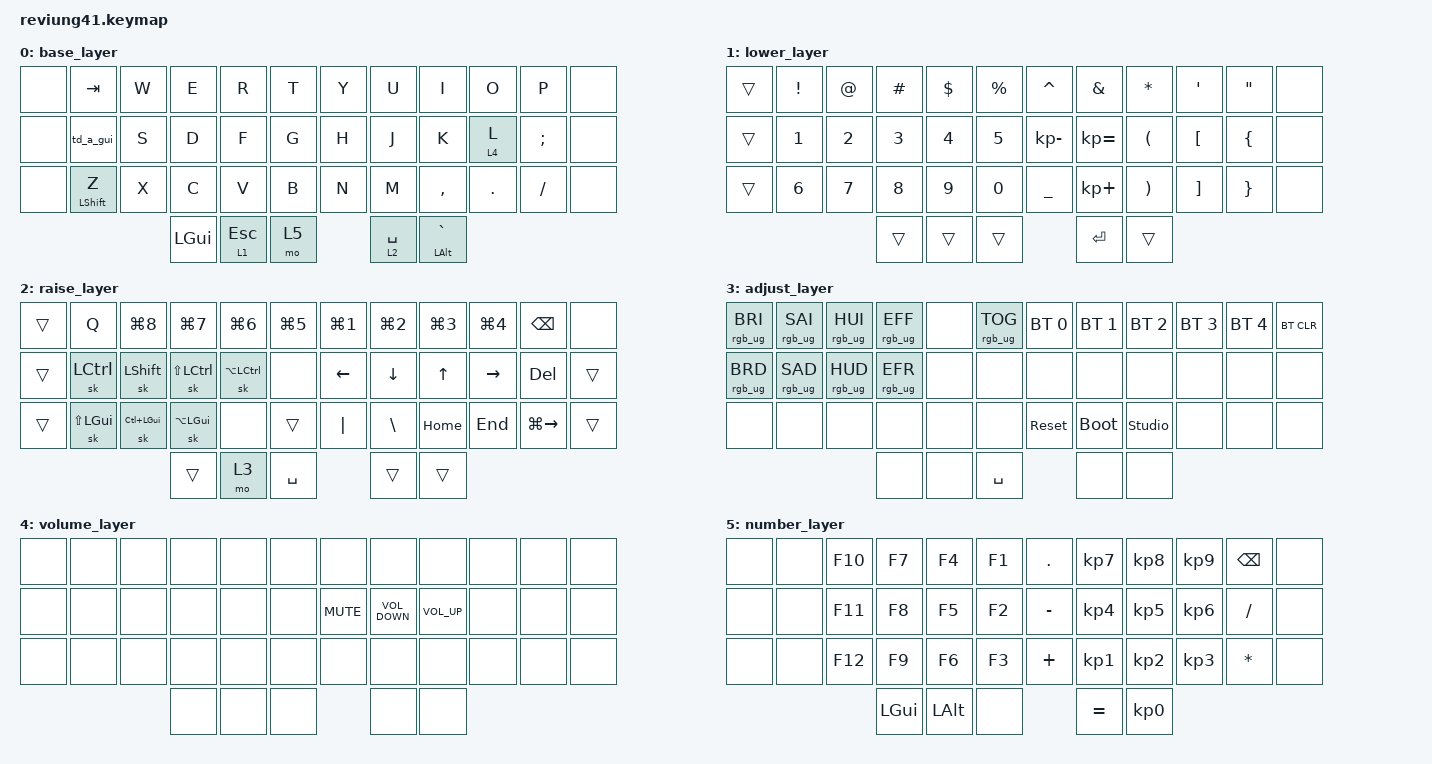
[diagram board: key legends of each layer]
/*
 * Copyright (c) 2020 The ZMK Contributors
 *
 * SPDX-License-Identifier: MIT
 */

#include <behaviors.dtsi>
#include <dt-bindings/zmk/bt.h>
#include <dt-bindings/zmk/keys.h>
#include <dt-bindings/zmk/rgb.h>

/ {
    behaviors {
        hm: homerow_mods {
            compatible = "zmk,behavior-hold-tap";
            bindings = <&kp>, <&kp>;

            #binding-cells = <2>;
            tapping-term-ms = <150>;
            flavor = "tap-preferred";
            quick-tap-ms = <0>;
        };

        td_a_gui: td_a_gui {
            compatible = "zmk,behavior-tap-dance";
            label = "TD_A_GUI";
            #binding-cells = <0>;
            bindings = <&kp A>, <&sk LEFT_GUI>;

            tapping-term-ms = <150>;
        };

        td_s_alt: td_s_alt {
            compatible = "zmk,behavior-tap-dance";
            label = "TD_S_ALT";
            #binding-cells = <0>;
            bindings = <&kp S>, <&sk LEFT_ALT>;

            tapping-term-ms = <150>;
        };

        td_d_ctrl: td_d_ctrl {
            compatible = "zmk,behavior-tap-dance";
            label = "TD_D_CTRL";
            #binding-cells = <0>;
            bindings = <&kp D>, <&sk LCTRL>;

            tapping-term-ms = <150>;
        };

        td_f_shift: td_f_shift {
            compatible = "zmk,behavior-tap-dance";
            label = "TD_F_SHIFT";
            #binding-cells = <0>;
            bindings = <&kp F>, <&sk LEFT_SHIFT>;

            tapping-term-ms = <150>;
        };
    };

    combos {
        compatible = "zmk,combos";

        tmux {
            bindings = <&kp LC(A)>;
            key-positions = <14 13>;
        };
    };

    keymap {
        compatible = "zmk,keymap";

        base_layer {
            // -------------------------------------------------------------------------------------
            // |  TAB |  Q  |  W  |  E  |  R  |  T  |   |  Y  |  U   |  I  |  O  |  P  |   BKSP    |
            // | CTRL |  A  |  S  |  D  |  F  |  G  |   |  H  |  J   |  K  |  L  |  ;  |    '      |
            // | SHFT |  Z  |  X  |  C  |  V  |  B  |   |  N  |  M   |  ,  |  .  |  /  | SHFT(RET) |
            //                         | ALT | LWR | SPC | RSE  | ALT |

            bindings = <
&none  &kp TAB           &kp W  &kp E         &kp R         &kp T         &kp Y  &kp U        &kp I               &kp O    &kp P     &none
&none  &td_a_gui         &kp S  &kp D         &kp F         &kp G         &kp H  &kp J        &kp K               &lt 4 L  &kp SEMI  &none
&none  &hm LEFT_SHIFT Z  &kp X  &kp C         &kp V         &kp B         &kp N  &kp M        &kp COMMA           &kp DOT  &kp FSLH  &none
                                &kp LEFT_GUI  &lt 1 ESCAPE         &mo 5         &lt 2 SPACE  &mt LEFT_ALT GRAVE
            >;
        };

        lower_layer {
            // ------------------------------------------------------------------------------------
            // |    |  !  |  @  |  #  |  $  |  %  |   |  ^  |  &  |  *  |  (  |  )  |      DEL    |
            // |    |  _  |  +  |  {  |  }  | "|" |   | LFT | DWN |  UP | RGT |  `  |       ~     |
            // |    | ESC | GUI | ALT | CAPS|  "  |   | HOME| END | PGUP| PGDN| PRSC| SHFT(SPACE) |
            //                       |     |     | RET | ADJ |     |

            bindings = <
&trans  &kp EXCL      &kp AT        &kp HASH      &kp DLLR      &kp PRCNT             &kp CARET       &kp AMPS      &kp ASTRK              &kp SQT            &kp DOUBLE_QUOTES  &none
&trans  &kp NUMBER_1  &kp NUMBER_2  &kp NUMBER_3  &kp NUMBER_4  &kp N5                &kp KP_MINUS    &kp KP_EQUAL  &kp LEFT_PARENTHESIS   &kp LBKT           &kp LEFT_BRACE     &none
&trans  &kp NUMBER_6  &kp N7        &kp N8        &kp N9        &kp NUMBER_0          &kp UNDERSCORE  &kp KP_PLUS   &kp RIGHT_PARENTHESIS  &kp RIGHT_BRACKET  &kp RIGHT_BRACE    &none
                                    &trans        &trans                      &trans                  &kp ENTER     &trans
            >;
        };

        raise_layer {
            // ----------------------------------------------------------------------------
            // |    |  1  |  2  |  3  |  4  |  5  |   |  6  |  7  |  8  |  9  |  0  | DEL |
            // |    |  -  |  =  |  [  |  ]  |  \  |   | F1  | F2  | F3  | F4  | F5  | F6  |
            // |    | ESC | GUI | ALT | CAPS|  "  |   | F7  | F8  | F9  | F10 | F11 | F12 |
            //                       |     | ADJ | BKSP |    |     |

            bindings = <
&trans  &kp Q             &kp LG(N8)        &kp LG(NUMBER_7)      &kp LG(NUMBER_6)      &kp LG(N5)             &kp LG(NUMBER_1)  &kp LG(NUMBER_2)  &kp LG(NUMBER_3)  &kp LG(NUMBER_4)  &kp BACKSPACE  &none
&trans  &sk LEFT_CONTROL  &sk LEFT_SHIFT    &sk LS(LEFT_CONTROL)  &sk LA(LEFT_CONTROL)  &none                  &kp LEFT          &kp DOWN          &kp UP            &kp RIGHT         &kp DEL        &trans
&trans  &sk LS(LEFT_GUI)  &sk LC(LEFT_GUI)  &sk LA(LEFT_GUI)      &none                 &trans                 &kp PIPE          &kp BACKSLASH     &kp HOME          &kp END           &kp LG(RIGHT)  &trans
                                            &trans                &mo 3                             &kp SPACE                    &trans            &trans
            >;
        };

        adjust_layer {
            // -----------------------------------------------------------------------------------------
            // | RGB BRI+ | RGB SAT+ | RGB HUE+ | RGB ANI+ |    | RGB TOG |   |  BT1  | BT2 | BT3 | BT4 | BT5 | BT CLR |
            // | RGB BRI- | RGB SAT- | RGB HUE- | RGB ANI- |    |         |   |       |     |     |     |     |        |
            // |          |          |          |          |    |         |   | RESET |     |     |     |     |        |
            //                                              |     |     |     |     |     |

            bindings = <
&rgb_ug RGB_BRI  &rgb_ug RGB_SAI  &rgb_ug RGB_HUI  &rgb_ug RGB_EFF  &none  &rgb_ug RGB_TOG             &bt BT_SEL 0  &bt BT_SEL 1  &bt BT_SEL 2    &bt BT_SEL 3  &bt BT_SEL 4  &bt BT_CLR
&rgb_ug RGB_BRD  &rgb_ug RGB_SAD  &rgb_ug RGB_HUD  &rgb_ug RGB_EFR  &none  &none                       &none         &none         &none           &none         &none         &none
&none            &none            &none            &none            &none  &none                       &sys_reset    &bootloader   &studio_unlock  &none         &none         &none
                                                   &none            &none                   &kp SPACE                &none         &none
            >;
        };

        volume_layer {
            bindings = <
&none  &none  &none  &none  &none  &none         &none       &none              &none            &none  &none  &none
&none  &none  &none  &none  &none  &none         &kp K_MUTE  &kp C_VOLUME_DOWN  &kp C_VOLUME_UP  &none  &none  &none
&none  &none  &none  &none  &none  &none         &none       &none              &none            &none  &none  &none
                     &none  &none         &none              &none              &none
            >;
        };

        number_layer {
            bindings = <
&none  &none  &kp F10  &kp F7        &kp F4        &kp F1         &kp DOT    &kp KP_NUMBER_7  &kp KP_NUMBER_8  &kp KP_NUMBER_9  &kp BACKSPACE  &none
&none  &none  &kp F11  &kp F8        &kp F5        &kp F2         &kp MINUS  &kp KP_NUMBER_4  &kp KP_NUMBER_5  &kp KP_NUMBER_6  &kp SLASH      &none
&none  &none  &kp F12  &kp F9        &kp F6        &kp F3         &kp PLUS   &kp KP_NUMBER_1  &kp KP_NUMBER_2  &kp KP_NUMBER_3  &kp STAR       &none
                       &kp LEFT_GUI  &kp LEFT_ALT          &none             &kp EQUAL        &kp KP_NUMBER_0
            >;
        };
    };
};
